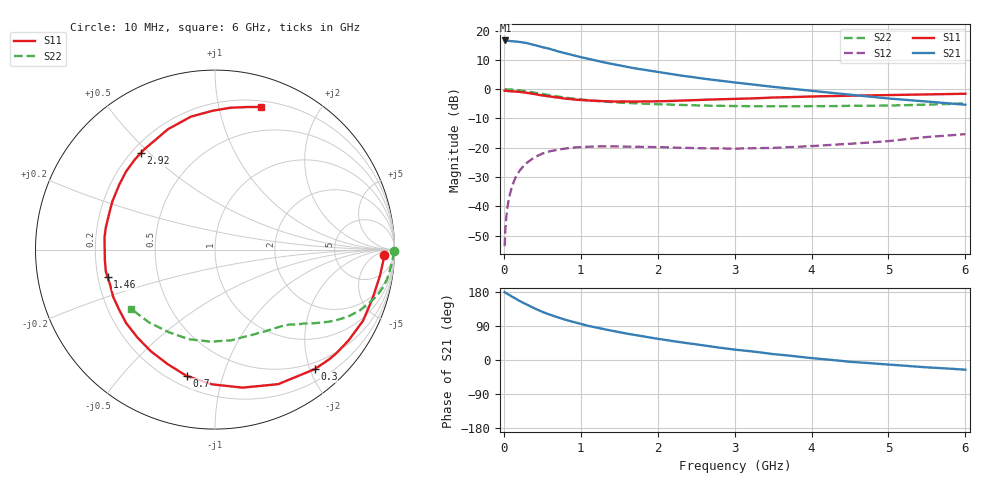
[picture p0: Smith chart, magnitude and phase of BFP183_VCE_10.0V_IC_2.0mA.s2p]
! Infineon Technologies  Discrete & RF Semiconductors
! BFP183
! VCE = 10.0V,  IC =  2.0 mA
! Common Emitter S-Parameters:  Jan 2016
# GHz  S  MA  R  50
!  f  S11  S21  S12  S22
! GHz  MAG  ANG  MAG  ANG  MAG  ANG  MAG  ANG
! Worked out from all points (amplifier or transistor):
!   210 points, 10 MHz to 6 GHz, reference 50 ohm
!   highest |S21| = 16.6 dB at 20 MHz (marker M1)
!   |S21| within 3 dB of that: start of sweep to 614.4 MHz
!   unconditionally stable (mu >= 1): 2.178 GHz to 5.917 GHz
!   at 185 MHz: K = 0.10, MSG = 22.4 dB, |S12| = -28.7 dB
!   at 1.52 GHz: K = 0.70, MSG = 13.8 dB, |S12| = -19.6 dB
!   at 6 GHz: K = 0.98, MSG = 5.0 dB, |S12| = -15.4 dB
!   S11 on the Smith chart (normalised r, x): 10 MHz: 26, -12; 300 MHz: 0.39, -2.08; 700 MHz: 0.26, -0.77; 1.46 GHz: 0.24, -0.12; 2.92 GHz: 0.24, +0.47; 6 GHz: 0.26, +1.34
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0.01  0.9394 -1.7  6.732 178.9  0.0021 81.8  0.9972 -0.6
0.02  0.9401 -3.6  6.767 178.0  0.0041 84.9  0.996 -1.3
0.05  0.9309 -8.8  6.691 174.0  0.0102 87.7  0.9914 -3.2
0.105  0.918 -18.0  6.577 167.6  0.0214 78.5  0.9816 -6.8
0.2  0.8999 -34.3  6.402 156.5  0.0397 70.2  0.9582 -12.8
0.3  0.8672 -50.2  6.102 146.2  0.0555 61.8  0.9166 -18.3
0.4  0.8283 -64.8  5.655 135.8  0.0689 54.1  0.8744 -22.9
0.5  0.7843 -78.7  5.211 126.9  0.0796 47.1  0.8291 -26.8
0.6  0.7508 -91.3  4.857 119.3  0.0874 41.3  0.7861 -29.9
0.7  0.7213 -102.7  4.422 112.4  0.0928 36.6  0.7487 -32.5
0.8  0.6902 -112.6  4.1 106.0  0.0973 32.2  0.7165 -34.6
1.02  0.6497 -133.3  3.466 94.0  0.1031 25.1  0.6631 -38.4
1.2  0.6303 -148.1  3.065 85.7  0.1053 20.1  0.6311 -41.1
1.46  0.6177 -165.8  2.612 74.9  0.1053 15.9  0.5949 -44.6
1.8  0.6192 173.7  2.164 62.5  0.1039 12.2  0.5647 -49.1
2.02  0.6216 162.9  1.94 55.4  0.1026 10.9  0.5518 -52.2
2.46  0.6476 143.8  1.6 42.4  0.0991 10.5  0.5311 -59.6
2.92  0.6781 127.7  1.341 29.6  0.0971 12.6  0.5159 -68.1
3.1  0.6875 122.4  1.257 25.4  0.0973 13.9  0.5123 -71.8
4.1  0.7553 98.4  0.908 3.3  0.1088 21.2  0.5125 -95.5
5.1  0.7977 82.6  0.677 -13.5  0.1345 25.5  0.5292 -122.0
6  0.8342 72.2  0.542 -25.6  0.1705 21.3  0.5725 -144.8
